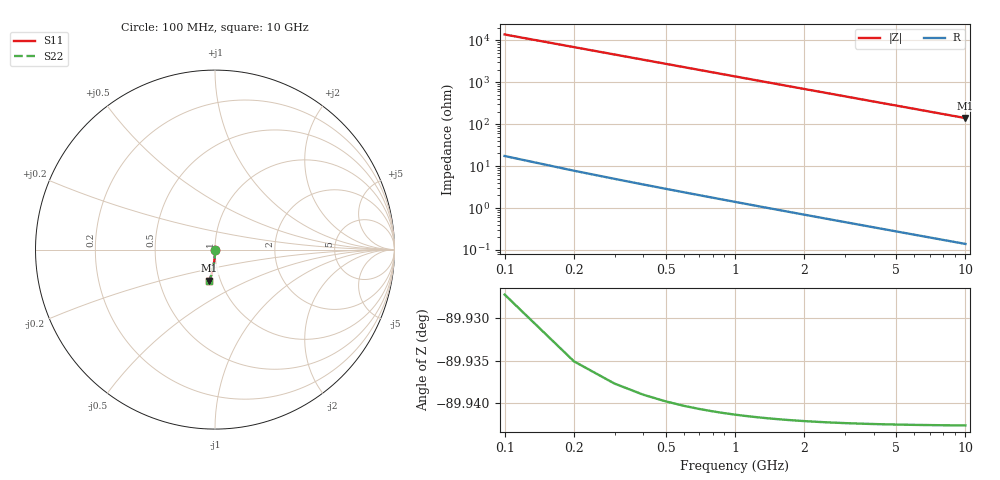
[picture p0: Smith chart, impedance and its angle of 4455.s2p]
# Hz S RI R 50.00
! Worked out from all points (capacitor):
!   100 points, 100 MHz to 10 GHz, reference 50 ohm
!   read as one part in shunt: C = 116 fF near 100 MHz
!   lowest |Z| = 140 ohm at 10 GHz (marker M1)
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1e8  -5.32e-06 -0.00182  1 -0.00183  1 -0.00183  -5.32e-06 -0.00182
2e8  -1.71e-05 -0.00364  1 -0.00365  1 -0.00365  -1.71e-05 -0.00364
3e8  -3.55e-05 -0.00546  1 -0.00548  1 -0.00548  -3.55e-05 -0.00546
4e8  -6.06e-05 -0.00728  0.9999 -0.0073  0.9999 -0.0073  -6.06e-05 -0.00728
5e8  -9.23e-05 -0.0091  0.9999 -0.00912  0.9999 -0.00912  -9.23e-05 -0.0091
6e8  -0.000131 -0.0109  0.9999 -0.0109  0.9999 -0.0109  -0.000131 -0.0109
7e8  -0.000175 -0.0127  0.9998 -0.0128  0.9998 -0.0128  -0.000175 -0.0127
8e8  -0.000227 -0.0146  0.9998 -0.0146  0.9998 -0.0146  -0.000227 -0.0146
9e8  -0.000285 -0.0164  0.9997 -0.0164  0.9997 -0.0164  -0.000285 -0.0164
1.1e9  -0.000421 -0.02  0.9996 -0.02  0.9996 -0.02  -0.000421 -0.02
1.4e9  -0.000673 -0.0254  0.9993 -0.0255  0.9993 -0.0255  -0.000673 -0.0254
1.8e9  -0.0011 -0.0326  0.9989 -0.0327  0.9989 -0.0327  -0.0011 -0.0326
2.1e9  -0.00149 -0.038  0.9985 -0.0381  0.9985 -0.0381  -0.00149 -0.038
2.5e9  -0.00209 -0.0452  0.9979 -0.0453  0.9979 -0.0453  -0.00209 -0.0452
2.9e9  -0.0028 -0.0523  0.9972 -0.0524  0.9972 -0.0524  -0.0028 -0.0523
3.4e9  -0.00383 -0.0612  0.9962 -0.0613  0.9962 -0.0613  -0.00383 -0.0612
4.2e9  -0.00579 -0.0753  0.9942 -0.0754  0.9942 -0.0754  -0.00579 -0.0753
5.1e9  -0.00846 -0.091  0.9915 -0.0912  0.9915 -0.0912  -0.00846 -0.091
5.9e9  -0.0112 -0.1048  0.9888 -0.1051  0.9888 -0.1051  -0.0112 -0.1048
6.7e9  -0.0144 -0.1185  0.9856 -0.1188  0.9856 -0.1188  -0.0144 -0.1185
8.4e9  -0.0223 -0.1471  0.9777 -0.1474  0.9777 -0.1474  -0.0223 -0.1471
1e10  -0.0312 -0.1732  0.9688 -0.1737  0.9688 -0.1737  -0.0312 -0.1732
